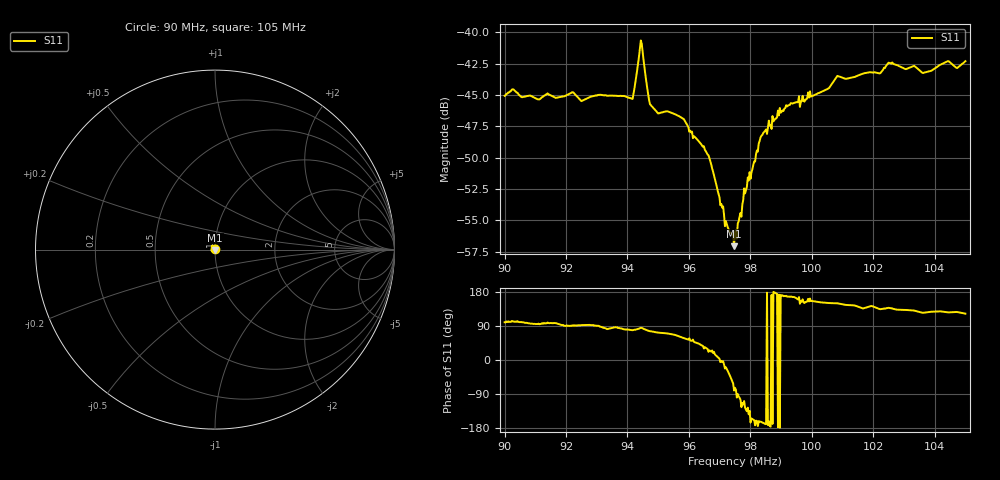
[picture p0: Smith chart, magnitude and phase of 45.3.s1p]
# HZ S RI R 50
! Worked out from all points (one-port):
!   505 points, 90 MHz to 105 MHz, reference 50 ohm
!   lowest |S11| = -57.1 dB at 97.47 MHz (marker M1), VSWR 1.00, Z = 50 - j0.138 ohm
!   |S11| at or under -10 dB: start of sweep to end of sweep
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9e7  -0.000929 0.00551
9.026786e7  -0.0012 0.00581
9.107143e7  -0.000453 0.00539
9.187501e7  -0.000205 0.00554
9.375001e7  0.000583 0.00555
9.416668e7  0.00106 0.00532
9.443454e7  0.000778 0.00926
9.449406e7  0.000962 0.00828
9.467263e7  0.00125 0.00553
9.479168e7  0.00128 0.00491
9.562502e7  0.00204 0.0042
9.660716e7  0.00285 0.00158
9.723217e7  0.00157 -0.000693
9.747026e7  0.000231 -0.00138
9.750002e7  0.000457 -0.00153
9.785717e7  -0.00154 -0.00177
9.836312e7  -0.00371 -0.0011
9.895836e7  -0.00499 -0.000103
9.937503e7  -0.00505 0.00125
1.00506e8  -0.00517 0.00292
1.008334e8  -0.00579 0.00339
1.0125e8  -0.00538 0.0038
1.022024e8  -0.00482 0.00489
1.025596e8  -0.00548 0.00518
1.03125e8  -0.00478 0.00536
1.036608e8  -0.00396 0.00567
1.044048e8  -0.00451 0.00619
1.05e8  -0.0041 0.00649
